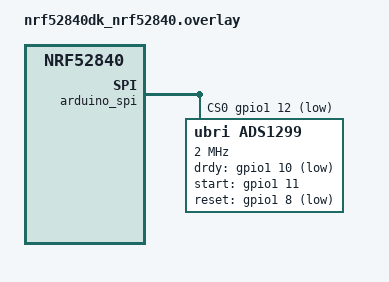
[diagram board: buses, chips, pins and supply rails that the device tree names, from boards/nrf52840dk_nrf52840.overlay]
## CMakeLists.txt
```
# Application Zephyr de la carte UBRI v0 (nRF52840). Compiler à blanc :
#   source ~/zephyrproject/.venv/bin/activate
#   west build -b nrf52840dk/nrf52840 -d /tmp/ubri-build products/ubri/firmware/app
cmake_minimum_required(VERSION 3.20.0)
find_package(Zephyr REQUIRED HINTS $ENV{ZEPHYR_BASE})
project(ubri_carte)

# Le cœur testé sur PC (30 tests, parité avec trame.py) est compilé TEL QUEL, sans copie.
set(COEUR ${CMAKE_CURRENT_SOURCE_DIR}/../coeur)
target_include_directories(app PRIVATE ${COEUR})
target_sources(app PRIVATE
  src/main.c
  src/ads1299.c
  src/compteur_drdy.c
  ${COEUR}/ubri_trame.c
)
target_compile_options(app PRIVATE -Wall -Wextra -Werror)
```

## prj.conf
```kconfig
# Application UBRI (nRF52840). Les valeurs Bluetooth suivent le débit calculé du cahier (trame v3 : 42 octets à
# 250 Hz = 10,5 ko/s) ; elles sont à mesurer sur la vraie liaison (cahier §8).
CONFIG_GPIO=y
CONFIG_SPI=y
CONFIG_NRFX_TIMER=y
CONFIG_NRFX_GPPI=y
CONFIG_LOG=y

CONFIG_BT=y
CONFIG_BT_PERIPHERAL=y
CONFIG_BT_DEVICE_NAME="UBRI"
# une trame v3 (42 octets) ne tient pas dans les 20 octets utiles d'un ATT MTU de 23 : MTU 247
CONFIG_BT_L2CAP_TX_MTU=247
CONFIG_BT_BUF_ACL_TX_SIZE=251
CONFIG_BT_BUF_ACL_RX_SIZE=251
CONFIG_BT_USER_DATA_LEN_UPDATE=y
CONFIG_BT_USER_PHY_UPDATE=y
# la carte demande elle-même la MTU 247 après l'appairage (bt_gatt_exchange_mtu = côté client GATT)
CONFIG_BT_GATT_CLIENT=y
# EEG = donnée de santé : appairage LE Secure Connections SEULEMENT, authentifié (clé ALÉATOIRE à chaque appairage,
# affichée sur la console), accepté seulement pendant la fenêtre d'appairage (pairing_accept) ; liaisons mémorisées
# en flash : un hôte déjà lié se reconnecte sans nouvel appairage.
CONFIG_BT_SMP=y
CONFIG_BT_SMP_SC_ONLY=y
CONFIG_BT_SMP_ENFORCE_MITM=y
CONFIG_BT_SMP_APP_PAIRING_ACCEPT=y
CONFIG_BT_MAX_PAIRED=2
CONFIG_BT_SETTINGS=y
CONFIG_SETTINGS=y
CONFIG_FLASH=y
CONFIG_FLASH_MAP=y
CONFIG_NVS=y

CONFIG_MAIN_STACK_SIZE=2048
```

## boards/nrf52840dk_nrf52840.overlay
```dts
/* nRF52840-DK -> carte d'évaluation TI ADS1299EEGFE (connecteur J3, guide SLAU443B tableau 8).
 * Bus : SPI de l'en-tête Arduino du DK (arduino_spi = spi3 : SCK P1.15, MISO P1.14, MOSI P1.13, CS P1.12).
 * Broches de contrôle choisies sur l'en-tête Arduino, à câbler vers J3 : DRDY P1.10, START P1.11, RESET P1.08.
 * À VÉRIFIER au câblage : J3 broche 15 = DRDYB, 1 = START/CS, 8 = RESETB, 7 = CS, 11 = DIN, 13 = DOUT, 3 = CLK ;
 * la sérigraphie de CLKSEL (J3 broche 2) serait fausse selon un résumé du forum TI : suivre le schéma.
 * Niveaux : DVDD de la carte TI et VDD du DK sur le MÊME rail 3,0 V (fiche d'achat, A12). */

&arduino_spi {
	status = "okay";
	cs-gpios = <&gpio1 12 GPIO_ACTIVE_LOW>;

	ads1299: ads1299@0 {
		compatible = "ubri,ads1299";
		reg = <0>;
		/* fiche ADS1299 : WREG/RREG octet par octet sans délai exigent tSDECODE (≈ 1,96 µs) => SCLK <= 4 MHz SANS
		 * marge ; 2 MHz en laisse (27 octets lus en 108 µs, bien sous les 4 ms d'un échantillon). */
		spi-max-frequency = <2000000>;
		drdy-gpios = <&gpio1 10 GPIO_ACTIVE_LOW>;
		start-gpios = <&gpio1 11 GPIO_ACTIVE_HIGH>;
		reset-gpios = <&gpio1 8 GPIO_ACTIVE_LOW>;
	};
};
```

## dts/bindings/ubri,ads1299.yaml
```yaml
# ADS1299 (TI) vu par l'application UBRI : périphérique SPI + broches de contrôle. Liaison minimale propre au
# projet (Zephyr n'a pas de pilote ADS1299) ; le protocole est dans src/ads1299.c.
description: "TI ADS1299, convertisseur EEG 8 voies 24 bits (application UBRI)"

compatible: "ubri,ads1299"

include: spi-device.yaml

properties:
  drdy-gpios:
    type: phandle-array
    required: true
    description: "sortie DRDY de l'ADS1299 (active basse), une impulsion par échantillon"
  start-gpios:
    type: phandle-array
    required: true
    description: "entrée START (active haute) : lance les conversions"
  reset-gpios:
    type: phandle-array
    required: true
    description: "entrée RESET (active basse)"
```

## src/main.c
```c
/* Application UBRI sur nRF52840 : ADS1299 (SPI) -> cœur ubri_trame (trames v3, ouverture, clôture) -> Bluetooth.
 *
 * Deux fils :
 * - ACQUISITION, seul à appeler les fonctions ubri_* (contrat de ubri_trame.h) : attend DRDY, lit le TIMER, lit les
 *   27 octets, relit le TIMER (différent => lecture jetée, le saut du TIMER la compte), encode, met en file ; file
 *   pleine => ubri_abandon(1). Il reverse dans ubri_abandon les pertes d'ÉCHANTILLONS de SA session postées par le
 *   fil BLE (KE#291). 2 s sans DRDY => session close (une ADS1299 muette n'a jamais l'air d'une session calme).
 * - BLE : vide la file, regroupe dans l'ordre des trames ENTIÈRES d'une même session, notifie ; une perte est postée
 *   avec sa session ; jamais d'accès à la session ubri.
 * Service GATT UBRI : COMMANDE (écriture : 0x01 ouvrir, 0x02 fermer), FLUX (notifications : trames, décodées par
 * products/ubri/connect/ubri_connect/trame.py).
 *
 * SÉCURITÉ (l'EEG est une donnée de santé) : LE Secure Connections seulement, niveau L4 exigé (permissions AUTHEN +
 * relecture du niveau avant chaque envoi). Clé ALÉATOIRE à chaque appairage, affichée sur la console uniquement
 * pendant la FENÊTRE D'APPAIRAGE (bouton 1 maintenu au démarrage, 60 s) ; hors fenêtre, tout appairage est refusé et
 * seuls les hôtes déjà liés (liaison mémorisée en flash) se reconnectent ; ouvrir la fenêtre EFFACE toutes les
 * liaisons. Une connexion qui n'atteint pas L4 en 30 s est coupée (place unique). La console passe par l'USB du PC : la
 * fenêtre d'appairage se fait SANS électrode posée (KE#285).
 * Compilé à blanc le 2026-11-09 ; JAMAIS exécuté sur une carte : tout comportement est à valider au banc. */
#include <errno.h>
#include <string.h>
#include <zephyr/bluetooth/bluetooth.h>
#include <zephyr/bluetooth/conn.h>
#include <zephyr/bluetooth/gatt.h>
#include <zephyr/bluetooth/hci.h>
#include <zephyr/bluetooth/uuid.h>
#include <zephyr/drivers/gpio.h>
#include <zephyr/kernel.h>
#include <zephyr/logging/log.h>
#include <zephyr/settings/settings.h>
#include <zephyr/spinlock.h>
#include <zephyr/sys/atomic.h>

#include "ads1299.h"
#include "compteur_drdy.h"
#include "ubri_trame.h"

LOG_MODULE_REGISTER(ubri, LOG_LEVEL_INF);

#define FS_HZ 250
#define GAIN 24
#define BIT_SYNC 0 /* GPIO1 de l'ADS1299 (ordre des bits à confirmer au banc, ubri_trame.h) */
#define ID_CARTE 0x0B1u
#define VERSION_MICROPROGRAMME 1u
#define FILE_PROFONDEUR 64          /* 64 trames ≈ 256 ms à 250 Hz */
#define SILENCE_MAX_MS 2000         /* sans DRDY pendant 2 s : ADS1299 muette, session close */
#define FENETRE_APPAIRAGE_MS 60000  /* bouton 1 au démarrage : 60 s pendant lesquelles un appairage est accepté */
/* Une connexion qui n'atteint pas L4 en 30 s est coupée : sinon un appareil inconnu garde la SEULE place
 * (CONFIG_BT_MAX_CONN = 1) et l'hôte lié ne peut plus se connecter. 30 s laisse lire la clé et la saisir ; durée
 * réelle d'un appairage à mesurer au banc (essai 6). */
#define DELAI_AUTH_MS 30000

typedef struct {
    uint32_t gen;        /* session émettrice : une perte n'est imputée qu'à SA session (KE#291) */
    uint8_t echantillon; /* 1 = trame v3 ; ouverture et clôture perdues ne sont PAS des échantillons abandonnés */
    uint8_t len;
    uint8_t data[UBRI_TRAME_V3_MAX];
} trame_t;

K_MSGQ_DEFINE(file_trames, sizeof(trame_t), FILE_PROFONDEUR, 4);
static atomic_t gen_session;  /* génération de la session en cours (incrémentée à chaque ouverture) */
static atomic_t pertes_ble;   /* échantillons de la session en cours perdus côté radio, postés par le fil BLE */
static atomic_t commande;     /* 0 rien, 1 ouvrir, 2 fermer : écrit par BLE, lu par l'acquisition */
static atomic_t seq_commande; /* +1 à CHAQUE commande (et à la déconnexion) : la commande est un ÉVÉNEMENT, pas un niveau.
                               * Sans lui, « fermer » puis « ouvrir » entre deux échantillons laissait la session courir
                               * sans nouvelle ouverture. */
static K_SEM_DEFINE(sem_commande, 0, 1);
static atomic_t flux_abonne;
static atomic_t fenetre_ouverte;

static struct k_spinlock verrou_conn; /* connexion_active n'est lue que sous verrou, et toujours avec une référence */
static struct bt_conn *connexion_active;

/* UUID propres à UBRI (128 bits, tirés une fois). */
#define UUID_SERVICE BT_UUID_128_ENCODE(0x6a1b0000, 0x5b3c, 0x4e0f, 0x9d2a, 0x7c1e0a5f3b21)
#define UUID_COMMANDE BT_UUID_128_ENCODE(0x6a1b0001, 0x5b3c, 0x4e0f, 0x9d2a, 0x7c1e0a5f3b21)
#define UUID_FLUX BT_UUID_128_ENCODE(0x6a1b0002, 0x5b3c, 0x4e0f, 0x9d2a, 0x7c1e0a5f3b21)
static const struct bt_uuid_128 uuid_service = BT_UUID_INIT_128(UUID_SERVICE);
static const struct bt_uuid_128 uuid_commande = BT_UUID_INIT_128(UUID_COMMANDE);
static const struct bt_uuid_128 uuid_flux = BT_UUID_INIT_128(UUID_FLUX);

static ssize_t ecrire_commande(struct bt_conn *conn, const struct bt_gatt_attr *attr, const void *buf, uint16_t len,
                               uint16_t offset, uint8_t flags)
{
    ARG_UNUSED(conn); ARG_UNUSED(attr); ARG_UNUSED(flags);
    if (offset != 0 || len != 1) return BT_GATT_ERR(BT_ATT_ERR_INVALID_ATTRIBUTE_LEN);
    uint8_t c = ((const uint8_t *)buf)[0];
    if (c != 1 && c != 2) return BT_GATT_ERR(BT_ATT_ERR_VALUE_NOT_ALLOWED);
    atomic_set(&commande, c);
    atomic_inc(&seq_commande);
    k_sem_give(&sem_commande);
    return len;
}

static void abonnement_flux(const struct bt_gatt_attr *attr, uint16_t valeur)
{
    ARG_UNUSED(attr);
    atomic_set(&flux_abonne, valeur == BT_GATT_CCC_NOTIFY);
}

BT_GATT_SERVICE_DEFINE(service_ubri,
    BT_GATT_PRIMARY_SERVICE(&uuid_service),
    BT_GATT_CHARACTERISTIC(&uuid_commande.uuid, BT_GATT_CHRC_WRITE, BT_GATT_PERM_WRITE_AUTHEN, NULL, ecrire_commande,
                           NULL),
    BT_GATT_CHARACTERISTIC(&uuid_flux.uuid, BT_GATT_CHRC_NOTIFY, BT_GATT_PERM_NONE, NULL, NULL, NULL),
    BT_GATT_CCC(abonnement_flux, BT_GATT_PERM_READ_AUTHEN | BT_GATT_PERM_WRITE_AUTHEN));
/* attrs : [0] service, [1][2] COMMANDE, [3][4] FLUX (déclaration, valeur), [5] CCC */
#define ATTR_FLUX_VALEUR (&service_ubri.attrs[4])

static const struct bt_data annonce[] = {
    BT_DATA_BYTES(BT_DATA_FLAGS, (BT_LE_AD_GENERAL | BT_LE_AD_NO_BREDR)),
    BT_DATA_BYTES(BT_DATA_UUID128_ALL, UUID_SERVICE),
};
static const struct bt_data reponse[] = {
    BT_DATA(BT_DATA_NAME_COMPLETE, CONFIG_BT_DEVICE_NAME, sizeof(CONFIG_BT_DEVICE_NAME) - 1),
};

/* Zephyr >= 4 : une annonce connectable ne sert qu'UNE fois ; on la relance à chaque connexion recyclée (KE#292). */
static void relancer_annonce(struct k_work *w)
{
    ARG_UNUSED(w);
    int e = bt_le_adv_start(BT_LE_ADV_CONN_FAST_1, annonce, ARRAY_SIZE(annonce), reponse, ARRAY_SIZE(reponse));
    if (e != 0 && e != -EALREADY) LOG_ERR("annonce BLE non relancée (%d)", e);
}
static K_WORK_DEFINE(travail_annonce, relancer_annonce);

/* Garde d'authentification : relancée à CHAQUE connexion (k_work_reschedule), donc le délai d'une connexion
 * précédente ne coupe jamais la suivante avant ses 30 s ; au déclenchement, ne coupe que si le niveau est < L4. */
static void verifier_authentification(struct k_work *w)
{
    ARG_UNUSED(w);
    k_spinlock_key_t k = k_spin_lock(&verrou_conn);
    struct bt_conn *conn = connexion_active ? bt_conn_ref(connexion_active) : NULL;
    k_spin_unlock(&verrou_conn, k);
    if (conn == NULL) return;
    if (bt_conn_get_security(conn) < BT_SECURITY_L4) {
        LOG_ERR("connexion non authentifiée après %d s : déconnexion (place libérée)", DELAI_AUTH_MS / 1000);
        bt_conn_disconnect(conn, BT_HCI_ERR_AUTH_FAIL);
    }
    bt_conn_unref(conn);
}
static K_WORK_DELAYABLE_DEFINE(travail_auth, verifier_authentification);

static struct bt_gatt_exchange_params echange_mtu;
static void mtu_echangee(struct bt_conn *conn, uint8_t err, struct bt_gatt_exchange_params *p)
{
    ARG_UNUSED(p);
    if (err) LOG_ERR("échange de MTU refusé (%u) : aucune trame (27 à 42 octets) ne tiendra en 20", err);
    else LOG_INF("MTU %u", bt_gatt_get_mtu(conn));
}

static void connecte(struct bt_conn *conn, uint8_t err)
{
    if (err) return;
    k_spinlock_key_t k = k_spin_lock(&verrou_conn);
    connexion_active = bt_conn_ref(conn);
    k_spin_unlock(&verrou_conn, k);
    (void)k_work_reschedule(&travail_auth, K_MSEC(DELAI_AUTH_MS));
    /* L4 = LE Secure Connections + authentification : sans elle, ni commande ni abonnement (permissions AUTHEN) */
    int r = bt_conn_set_security(conn, BT_SECURITY_L4);
    if (r != 0) {
        LOG_ERR("sécurité L4 refusée (%d) : déconnexion", r);
        bt_conn_disconnect(conn, BT_HCI_ERR_AUTH_FAIL);
    }
}

static void deconnecte(struct bt_conn *conn, uint8_t raison)
{
    ARG_UNUSED(raison);
    struct bt_conn *ancienne = NULL;
    k_spinlock_key_t k = k_spin_lock(&verrou_conn);
    if (connexion_active == conn) {
        ancienne = connexion_active;
        connexion_active = NULL;
    }
    k_spin_unlock(&verrou_conn, k);
    if (ancienne) bt_conn_unref(ancienne);
    (void)k_work_cancel_delayable(&travail_auth);
    atomic_set(&flux_abonne, 0);
    atomic_inc(&seq_commande);
    atomic_set(&commande, 2); /* plus personne pour recevoir : la session se ferme (clôture perdue : l'hôte voit une
                               * session non bornée, perdus_total = None, jamais 0) */
    k_sem_give(&sem_commande);
}

static void securite_changee(struct bt_conn *conn, bt_security_t niveau, enum bt_security_err err)
{
    if (err != BT_SECURITY_ERR_SUCCESS || niveau < BT_SECURITY_L4) {
        LOG_ERR("appairage échoué ou niveau %d < L4 (erreur %d) : déconnexion", niveau, err);
        bt_conn_disconnect(conn, BT_HCI_ERR_AUTH_FAIL);
        return;
    }
    echange_mtu.func = mtu_echangee; /* la carte demande elle-même la MTU de 247 (sinon 20 octets utiles) */
    /* -EALREADY : déjà échangée sur CETTE connexion (niveau de sécurité rechangé, par ex. rafraîchissement de clé) ;
     * la pile n'autorise qu'un échange par connexion (gatt.c v4.4.2), ce n'est pas une erreur. */
    int e = bt_gatt_exchange_mtu(conn, &echange_mtu);
    if (e == -EALREADY) LOG_INF("MTU déjà échangée : %u", bt_gatt_get_mtu(conn));
    else if (e != 0) LOG_ERR("échange de MTU non lancé (%d)", e);
}

static void recyclee(void)
{
    k_work_submit(&travail_annonce);
}

BT_CONN_CB_DEFINE(rappels_connexion) = {
    .connected = connecte, .disconnected = deconnecte, .security_changed = securite_changee, .recycled = recyclee};

/* Appairage : clé ALÉATOIRE tirée par la pile à chaque appairage ; la carte « l'affiche » sur la console, uniquement
 * pendant la fenêtre d'appairage (sans électrode posée : la console passe par l'USB du PC). */
static void cle_affichee(struct bt_conn *conn, unsigned int cle)
{
    ARG_UNUSED(conn);
    if (atomic_get(&fenetre_ouverte)) printk("UBRI : clé d'appairage %06u\n", cle);
}

static enum bt_security_err appairage_accepte(struct bt_conn *conn, const struct bt_conn_pairing_feat *const feat)
{
    ARG_UNUSED(conn); ARG_UNUSED(feat);
    return atomic_get(&fenetre_ouverte) ? BT_SECURITY_ERR_SUCCESS : BT_SECURITY_ERR_PAIR_NOT_ALLOWED;
}

static void appairage_annule(struct bt_conn *conn)
{
    bt_conn_disconnect(conn, BT_HCI_ERR_AUTH_FAIL);
}

static struct bt_conn_auth_cb rappels_auth = {
    .passkey_display = cle_affichee, .pairing_accept = appairage_accepte, .cancel = appairage_annule};

static void fermer_fenetre(struct k_work *w)
{
    ARG_UNUSED(w);
    atomic_clear(&fenetre_ouverte);
    LOG_INF("fenêtre d'appairage close : seuls les hôtes déjà liés se reconnectent");
}
static K_WORK_DELAYABLE_DEFINE(travail_fenetre, fermer_fenetre);

static int en_file(const uint8_t *data, int len, bool bloquant, bool echantillon)
{
    trame_t t = {.gen = (uint32_t)atomic_get(&gen_session), .echantillon = echantillon, .len = (uint8_t)len};
    memcpy(t.data, data, (size_t)len);
    return k_msgq_put(&file_trames, &t, bloquant ? K_MSEC(200) : K_NO_WAIT);
}

static void reverser_pertes_ble(ubri_session *s)
{
    atomic_val_t n = atomic_clear(&pertes_ble);
    if (n > 0) ubri_abandon(s, (uint32_t)n);
}

static void fil_acquisition(void *a, void *b, void *c)
{
    ARG_UNUSED(a); ARG_UNUSED(b); ARG_UNUSED(c);
    static const uint8_t codes[8] = {0, 1, 2, 3, 4, 5, 6, 7}; /* Fz FCz Cz CPz Pz C3 C4 EOG (trame.py LIBELLES) */
    ubri_session s;
    memset(&s, 0, sizeof s);
    uint8_t sortie[UBRI_TRAME_V3_MAX];
    uint8_t ads[UBRI_ADS_OCTETS];
    for (;;) {
        k_sem_take(&sem_commande, K_FOREVER);
        /* seq lu AVANT commande : une commande arrivée après cette lecture ferme la session via seq, aucune n'est
         * absorbée ; un « ouvrir » rouvre ensuite une session NEUVE */
        atomic_val_t seq_ouverture = atomic_get(&seq_commande);
        if (atomic_get(&commande) != 1) continue;
        atomic_inc(&gen_session);
        (void)atomic_clear(&pertes_ble); /* pertes d'une session antérieure : jamais imputées à celle-ci (KE#291) */
        int r = ads1299_configurer();     /* RESET, ID, registres, relecture : AVANT la remise à zéro du TIMER */
        compteur_drdy_zero();             /* juste avant START : aucune DRDY parasite de la configuration comptée */
        int n = ubri_ouvrir(&s, sortie, 8, codes, 0, FS_HZ, GAIN, ID_CARTE, VERSION_MICROPROGRAMME, BIT_SYNC);
        if (n < 0 || en_file(sortie, n, true, false) != 0) {
            LOG_ERR("ouverture impossible (%d)", n);
            memset(&s, 0, sizeof s); /* ubri_ouvrir a pu réussir : sinon UBRI_ERR_SESSION jusqu'au redémarrage */
            continue;
        }
        if (r == 0 && atomic_get(&seq_commande) == seq_ouverture) r = ads1299_lancer(); /* START puis RDATAC ; pas de
                                                                         * START inutile si une commande est arrivée */
        if (r != 0) LOG_ERR("ADS1299 non démarrée (%d) : la session sera close sans échantillon", r);
        uint32_t silences = 0;
        while (r == 0 && atomic_get(&commande) == 1 && atomic_get(&seq_commande) == seq_ouverture) {
            if (compteur_drdy_attendre(100) != 0) {
                if (++silences >= SILENCE_MAX_MS / 100) {
                    LOG_ERR("aucune DRDY depuis %d ms : session close", SILENCE_MAX_MS);
                    break;
                }
                continue;
            }
            silences = 0;
            uint32_t t1 = compteur_drdy_lire();
            /* interruption en retard (jeton pour une DRDY déjà servie) : ni lecture, ni faux refus (KE#300) */
            if (!ubri_timer_coherent(&s, t1)) continue;
            if (ads1299_lire(ads) != 0) { ubri_refus_lecture(&s); continue; }
            uint32_t t2 = compteur_drdy_lire();
            if (t1 != t2) { ubri_lecture_jetee(&s); continue; } /* DRDY pendant la lecture : jamais N+1 étiquetée N */
            reverser_pertes_ble(&s);
            n = ubri_echantillon(&s, sortie, t1, ads, 0);
            if (n < 0) continue; /* mot d'état corrompu : s.refus ; TIMER incohérent : s.incoherences_timer (KE#300) */
            if (en_file(sortie, n, false, true) != 0) ubri_abandon(&s, 1);
        }
        ads1299_arreter();
        reverser_pertes_ble(&s);
        n = ubri_cloturer(&s, sortie, compteur_drdy_lire());
        if (n < 0 || en_file(sortie, n, true, false) != 0) LOG_ERR("clôture non émise (%d)", n);
        LOG_INF("session close : %u DRDY manquées, %u abandons, %u fronts incertains, %u lectures jetées, %u refus, "
                "%u incohérences du TIMER", s.drdy_manquees, s.abandonnees, s.fronts_incertains, s.lectures_jetees,
                s.refus, s.incoherences_timer); /* tous transmis (clôture v2) */
        memset(&s, 0, sizeof s);
    }
}

static void fil_ble(void *a, void *b, void *c)
{
    ARG_UNUSED(a); ARG_UNUSED(b); ARG_UNUSED(c);
    static uint8_t paquet[244]; /* ATT MTU 247 - 3 octets d'en-tête */
    static trame_t en_attente;  /* trame sortie de la file mais pas encore placée : garde l'ORDRE des trames */
    bool attente = false;
    for (;;) {
        if (!attente) {
            k_msgq_get(&file_trames, &en_attente, K_FOREVER);
            attente = true;
        }
        k_spinlock_key_t k = k_spin_lock(&verrou_conn);
        struct bt_conn *conn = connexion_active ? bt_conn_ref(connexion_active) : NULL;
        k_spin_unlock(&verrou_conn, k);
        size_t utile = conn ? MIN(sizeof paquet, (size_t)bt_gatt_get_mtu(conn) - 3u) : 0;
        size_t remplissage = 0;
        uint32_t nb = 0, nb_ech = 0, gen_paquet = en_attente.gen;
        /* trames ENTIÈRES d'une même session, dans l'ordre ; la première qui ne rentre plus reste en attente */
        while (attente && en_attente.gen == gen_paquet && remplissage + en_attente.len <= utile) {
            memcpy(paquet + remplissage, en_attente.data, en_attente.len);
            remplissage += en_attente.len;
            nb++;
            nb_ech += en_attente.echantillon;
            attente = (k_msgq_get(&file_trames, &en_attente, K_NO_WAIT) == 0);
        }
        /* la session du paquet est relue JUSTE avant chaque imputation (KE#291) : bt_gatt_notify peut attendre un tampon
         * ATT en K_FOREVER (att.c v4.4.2), la comparer avant l'envoi élargirait la fenêtre de course à cette attente */
        if (nb == 0) { /* pas de connexion, ou MTU trop petite pour une seule trame : perdue */
            if (en_attente.echantillon && gen_paquet == (uint32_t)atomic_get(&gen_session)) atomic_inc(&pertes_ble);
            attente = false;
        } else if (!atomic_get(&flux_abonne) || bt_conn_get_security(conn) < BT_SECURITY_L4 ||
                   bt_gatt_notify(conn, ATTR_FLUX_VALEUR, paquet, (uint16_t)remplissage) != 0) {
            /* deux barrières indépendantes : abonnement (CCC en AUTHEN) ET niveau de la liaison relu ici */
            if (gen_paquet == (uint32_t)atomic_get(&gen_session)) atomic_add(&pertes_ble, (atomic_val_t)nb_ech);
        }
        if (conn) bt_conn_unref(conn);
    }
}

K_THREAD_DEFINE(id_acquisition, 2048, fil_acquisition, NULL, NULL, NULL, 2, 0, 0);
K_THREAD_DEFINE(id_ble, 2048, fil_ble, NULL, NULL, NULL, 5, 0, 0);

static const struct gpio_dt_spec bouton = GPIO_DT_SPEC_GET(DT_ALIAS(sw0), gpios);

static void compter_liaison(const struct bt_bond_info *info, void *n)
{
    ARG_UNUSED(info);
    (*(int *)n)++;
}

int main(void)
{
    int err = compteur_drdy_init();
    if (err != 0) {
        LOG_ERR("compteur DRDY : %d (aucune session possible)", err);
        return err;
    }
    if (gpio_is_ready_dt(&bouton) && gpio_pin_configure_dt(&bouton, GPIO_INPUT) == 0 && gpio_pin_get_dt(&bouton) == 1) {
        atomic_set(&fenetre_ouverte, 1);
        k_work_schedule(&travail_fenetre, K_MSEC(FENETRE_APPAIRAGE_MS));
        printk("UBRI : fenêtre d'appairage ouverte %d s (SANS électrode posée : console sur l'USB du PC)\n",
               FENETRE_APPAIRAGE_MS / 1000);
    }
    err = bt_conn_auth_cb_register(&rappels_auth);
    if (err != 0) {
        LOG_ERR("rappels d'authentification refusés (%d)", err);
        return err;
    }
    err = bt_enable(NULL);
    if (err != 0) {
        LOG_ERR("Bluetooth : %d", err);
        return err;
    }
    err = settings_load(); /* liaisons mémorisées : un hôte déjà lié se reconnecte hors fenêtre d'appairage */
    if (err != 0) {
        LOG_ERR("liaisons mémorisées non chargées (%d)", err);
        if (atomic_get(&fenetre_ouverte)) {
            /* effacement impossible à certifier : bt_unpair ne voit que les liaisons chargées en RAM (KE#294) */
            atomic_clear(&fenetre_ouverte);
            LOG_ERR("fenêtre d'appairage refermée : liaisons en flash inconnues");
        }
    }
    if (atomic_get(&fenetre_ouverte)) {
        /* Ouvrir la fenêtre EFFACE toutes les liaisons (APRÈS settings_load, sinon elles reviendraient de la flash) :
         * c'est le seul moyen de révoquer un hôte perdu, et sans cela, BT_MAX_PAIRED = 2 atteint, tout nouvel
         * appairage échouerait. Geste physique sur la carte = remise à zéro de la confiance.
         * Zephyr v4.4.2 : bt_unpair(ANY) rend 0 sans condition (hci_core.c l. 2182-2197) : on RECOMPTE (KE#294).
         * L'effacement en flash lui-même n'est pas vérifiable ici : essai 6 du banc (redémarrage SANS bouton). */
        (void)bt_unpair(BT_ID_DEFAULT, BT_ADDR_LE_ANY);
        int restantes = 0;
        bt_foreach_bond(BT_ID_DEFAULT, compter_liaison, &restantes);
        if (restantes != 0) {
            LOG_ERR("%d liaison(s) non effacée(s) : fenêtre d'appairage refermée", restantes);
            atomic_clear(&fenetre_ouverte);
        } else {
            printk("UBRI : liaisons précédentes effacées, appairer à nouveau chaque hôte\n");
        }
    }
    relancer_annonce(NULL);
    return 0;
}
```

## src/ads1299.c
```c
/* Pilote minimal de l'ADS1299. Voir ads1299.h. */
#include "ads1299.h"

#include <errno.h>
#include <string.h>
#include <zephyr/drivers/gpio.h>
#include <zephyr/drivers/spi.h>
#include <zephyr/kernel.h>
#include <zephyr/logging/log.h>

LOG_MODULE_REGISTER(ads1299, LOG_LEVEL_INF);

#define ADS_NOEUD DT_NODELABEL(ads1299)
/* fiche : CPOL = 0, CPHA = 1 (données lues sur le front descendant de SCLK), MSB d'abord, mots de 8 bits */
static const struct spi_dt_spec bus = SPI_DT_SPEC_GET(ADS_NOEUD, SPI_WORD_SET(8) | SPI_TRANSFER_MSB | SPI_MODE_CPHA);
static const struct gpio_dt_spec start = GPIO_DT_SPEC_GET(ADS_NOEUD, start_gpios);
static const struct gpio_dt_spec reset = GPIO_DT_SPEC_GET(ADS_NOEUD, reset_gpios);

/* Commandes et registres (fiche SBAS499C, à vérifier au banc). */
enum {
    CMD_RESET = 0x06, CMD_RDATAC = 0x10, CMD_SDATAC = 0x11, CMD_RREG = 0x20, CMD_WREG = 0x40,
    REG_ID = 0x00, REG_CONFIG1 = 0x01, REG_GPIO = 0x14, REG_MISC1 = 0x15,
};
#define ID_ADS1299_8VOIES 0x3Eu /* fiche : 0x3E pour l'ADS1299 8 voies (à vérifier au banc) */

/* CONFIG1..CH8SET (adresses 0x01..0x0C), écrites d'un bloc. Fiche, à vérifier au banc :
 * CONFIG1 0x96 : 250 SPS, horloge interne non sortie ; CONFIG2 0xC0 : signaux de test coupés ;
 * CONFIG3 0xEC : tampon de référence interne + amplificateur BIAS alimenté, BIASREF interne. Sans BIAS_SENSP/N
 *   (registres 0x0D/0x0E à 0), il ne fait que piloter BIASREF : PAS de contre-réaction « jambe droite » (à régler au banc) ;
 * LOFF 0x00 : lead-off DC au repos (bits LOFF_STAT invalides tant que LOFF_SENSP/N = 0, voir ubri_trame.h) ;
 * CH1SET..CH8SET 0x60 : gain 24, entrée électrode normale. */
static const uint8_t CONFIG_BLOC[12] = {0x96, 0xC0, 0xEC, 0x00, 0x60, 0x60, 0x60, 0x60, 0x60, 0x60, 0x60, 0x60};

static int ecrire(const uint8_t *tx, size_t n)
{
    const struct spi_buf b = {.buf = (void *)tx, .len = n};
    const struct spi_buf_set s = {.buffers = &b, .count = 1};
    return spi_write_dt(&bus, &s);
}

static int commande(uint8_t c)
{
    int r = ecrire(&c, 1);
    k_busy_wait(4); /* fiche : au moins 4 tCLK (≈ 2 µs à 2,048 MHz) entre deux commandes */
    return r;
}

static int lire_registre(uint8_t adr, uint8_t *val)
{
    uint8_t tx[3] = {(uint8_t)(CMD_RREG | adr), 0x00, 0x00}, rx[3] = {0};
    const struct spi_buf bt = {.buf = tx, .len = 3}, br = {.buf = rx, .len = 3};
    const struct spi_buf_set st = {.buffers = &bt, .count = 1}, sr = {.buffers = &br, .count = 1};
    int r = spi_transceive_dt(&bus, &st, &sr);
    *val = rx[2];
    return r;
}

static int ecrire_registres(uint8_t adr, const uint8_t *val, uint8_t n)
{
    uint8_t tx[2 + 12];
    if (n == 0 || n > 12) return -EINVAL;
    tx[0] = (uint8_t)(CMD_WREG | adr);
    tx[1] = (uint8_t)(n - 1u);
    memcpy(&tx[2], val, n);
    return ecrire(tx, 2u + n);
}

int ads1299_configurer(void)
{
    int r;
    if (!spi_is_ready_dt(&bus) || !gpio_is_ready_dt(&start) || !gpio_is_ready_dt(&reset)) {
        LOG_ERR("SPI ou GPIO de l'ADS1299 non prêts");
        return -ENODEV;
    }
    gpio_pin_configure_dt(&start, GPIO_OUTPUT_INACTIVE);
    gpio_pin_configure_dt(&reset, GPIO_OUTPUT_ACTIVE);
    k_busy_wait(10);
    gpio_pin_set_dt(&reset, 0);
    k_msleep(10); /* fiche : attendre 18 tCLK après RESET ; large marge */
    if ((r = commande(CMD_SDATAC)) != 0) return r; /* sortir du mode continu avant d'écrire les registres */
    uint8_t id = 0;
    if ((r = lire_registre(REG_ID, &id)) != 0) return r;
    if (id != ID_ADS1299_8VOIES) {
        LOG_ERR("identifiant ADS1299 inattendu : 0x%02x (attendu 0x%02x)", id, ID_ADS1299_8VOIES);
        return -EIO;
    }
    const uint8_t gpio = 0x0F, misc1 = 0x20; /* 4 GPIO en entrée (synchro sur GPIO1) ; SRB1 sur toutes les entrées - */
    if ((r = ecrire_registres(REG_CONFIG1, CONFIG_BLOC, sizeof CONFIG_BLOC)) != 0) return r;
    if ((r = ecrire_registres(REG_GPIO, &gpio, 1)) != 0) return r;
    if ((r = ecrire_registres(REG_MISC1, &misc1, 1)) != 0) return r;
    uint8_t relu = 0;
    if ((r = lire_registre(REG_CONFIG1, &relu)) != 0) return r;
    if (relu != CONFIG_BLOC[0]) { /* relecture : une écriture SPI ratée ne passe pas pour une configuration */
        LOG_ERR("CONFIG1 relu 0x%02x, écrit 0x%02x", relu, CONFIG_BLOC[0]);
        return -EIO;
    }
    return 0;
}

int ads1299_lancer(void)
{
    gpio_pin_set_dt(&start, 1);
    return commande(CMD_RDATAC);
}

void ads1299_arreter(void)
{
    gpio_pin_set_dt(&start, 0);
    (void)commande(CMD_SDATAC);
}

int ads1299_lire(uint8_t ads[UBRI_ADS_OCTETS])
{
    static const uint8_t zeros[UBRI_ADS_OCTETS] = {0};
    const struct spi_buf bt = {.buf = (void *)zeros, .len = UBRI_ADS_OCTETS}, br = {.buf = ads, .len = UBRI_ADS_OCTETS};
    const struct spi_buf_set st = {.buffers = &bt, .count = 1}, sr = {.buffers = &br, .count = 1};
    return spi_transceive_dt(&bus, &st, &sr);
}
```

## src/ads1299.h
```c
/* Pilote minimal de l'ADS1299 pour l'application UBRI (SPI + broches de contrôle). Valeurs de registres tirées de
 * la fiche TI SBAS499C : « fiche, à vérifier au banc » tant qu'elles n'ont pas été relues sur la vraie carte. */
#ifndef UBRI_ADS1299_H
#define UBRI_ADS1299_H

#include <stdint.h>

#include "ubri_trame.h"

/* Réinitialise, vérifie l'identifiant (registre ID), écrit la configuration (250 SPS, gain 24, GPIO en entrée,
 * référence SRB1 commune, tampon BIAS) et la relit. Ne lance PAS les conversions. 0, ou un code négatif nommé. */
int ads1299_configurer(void);

/* START haut puis RDATAC : les DRDY commencent. À appeler juste après la remise à zéro du TIMER. */
int ads1299_lancer(void);

/* Arrête les conversions (SDATAC, START bas). */
void ads1299_arreter(void);

/* Lit les 27 octets d'un échantillon (mode RDATAC : aucune commande, 216 coups d'horloge après DRDY bas). */
int ads1299_lire(uint8_t ads[UBRI_ADS_OCTETS]);

#endif
```

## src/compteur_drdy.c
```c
/* Compteur matériel des DRDY : GPIOTE IN -> PPI -> TIMER2 COUNT. Montage repris de l'exemple Zephyr
 * samples/subsys/usb/uac2_explicit_feedback/src/feedback_nrf.c (nrfx 4.2). Voir compteur_drdy.h. */
#include "compteur_drdy.h"

#include <gpiote_nrfx.h>
#include <helpers/nrfx_gppi.h>
#include <nrfx_gpiote.h>
#include <nrfx_timer.h>
#include <zephyr/devicetree.h>
#include <zephyr/kernel.h>
#include <zephyr/logging/log.h>

LOG_MODULE_REGISTER(compteur_drdy, LOG_LEVEL_INF);

#define BROCHE_DRDY NRF_DT_GPIOS_TO_PSEL(DT_NODELABEL(ads1299), drdy_gpios)

static nrfx_timer_t minuteur = NRFX_TIMER_INSTANCE(NRF_TIMER_INST_GET(2)); /* TIMER0 est pris par la pile BLE */
static nrfx_gpiote_t *gpiote = &GPIOTE_NRFX_INST_BY_NODE(DT_NODELABEL(gpiote0));
static K_SEM_DEFINE(sem_drdy, 0, 1);

static void sur_drdy(nrfx_gpiote_pin_t broche, nrfx_gpiote_trigger_t declencheur, void *ctx)
{
    ARG_UNUSED(broche); ARG_UNUSED(declencheur); ARG_UNUSED(ctx);
    k_sem_give(&sem_drdy); /* un seul jeton : une DRDY non servie à temps ne s'accumule pas, le TIMER la compte */
}

int compteur_drdy_init(void)
{
    uint8_t canal;
    int err = nrfx_gpiote_channel_alloc(gpiote, &canal);
    if (err != 0) {
        LOG_ERR("canal GPIOTE indisponible (%d)", err);
        return err;
    }
    nrfx_gpiote_trigger_config_t declenche = {
        .trigger = NRFX_GPIOTE_TRIGGER_HITOLO, /* DRDY active basse : un front descendant par échantillon */
        .p_in_channel = &canal,
    };
    nrfx_gpiote_handler_config_t gestion = {.handler = sur_drdy, .p_context = NULL};
    nrf_gpio_pin_pull_t tirage = NRF_GPIO_PIN_NOPULL; /* DRDY est une sortie poussée de l'ADS1299 */
    nrfx_gpiote_input_pin_config_t config = {
        .p_pull_config = &tirage,
        .p_trigger_config = &declenche,
        .p_handler_config = &gestion,
    };
    err = nrfx_gpiote_input_configure(gpiote, BROCHE_DRDY, &config);
    if (err != 0) {
        LOG_ERR("configuration GPIOTE de DRDY refusée (%d)", err);
        return err;
    }
    const nrfx_timer_config_t cfg = {
        .frequency = NRFX_MHZ_TO_HZ(1UL), /* sans effet en mode compteur, exigé par l'API */
        .mode = NRF_TIMER_MODE_COUNTER,
        .bit_width = NRF_TIMER_BIT_WIDTH_32,
        .interrupt_priority = NRFX_TIMER_DEFAULT_CONFIG_IRQ_PRIORITY,
        .p_context = NULL,
    };
    err = nrfx_timer_init(&minuteur, &cfg, NULL);
    if (err != 0) {
        LOG_ERR("TIMER2 indisponible (%d)", err);
        return err;
    }
    uint32_t eep = nrfx_gpiote_in_event_address_get(gpiote, BROCHE_DRDY);
    uint32_t tep = nrfx_timer_task_address_get(&minuteur, NRF_TIMER_TASK_COUNT);
    nrfx_gppi_handle_t connexion;
    err = nrfx_gppi_conn_alloc(eep, tep, &connexion);
    if (err < 0) {
        LOG_ERR("connexion PPI DRDY -> TIMER2 refusée (%d)", err);
        return err;
    }
    nrfx_gppi_conn_enable(connexion);
    nrfx_timer_enable(&minuteur);
    nrfx_gpiote_trigger_enable(gpiote, BROCHE_DRDY, true); /* true : interruption en plus de l'événement PPI */
    return 0;
}

void compteur_drdy_zero(void)
{
    nrfx_timer_clear(&minuteur);
    k_sem_reset(&sem_drdy);
}

uint32_t compteur_drdy_lire(void)
{
    return nrfx_timer_capture(&minuteur, NRF_TIMER_CC_CHANNEL0);
}

int compteur_drdy_attendre(int32_t timeout_ms)
{
    return k_sem_take(&sem_drdy, K_MSEC(timeout_ms));
}
```

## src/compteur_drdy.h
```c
/* Compteur MATÉRIEL des DRDY de l'ADS1299 (cahier carte-ubri-v0 §3) : la broche DRDY produit un événement GPIOTE IN,
 * relié par PPI à la tâche COUNT de TIMER2 en mode compteur. Le compte ne dépend d'aucune interruption : une DRDY
 * que le logiciel ne sert pas fait quand même avancer le TIMER, et le saut se voit dans le compteur de trame.
 * La même broche réveille le fil d'acquisition (interruption GPIOTE -> sémaphore à un jeton). */
#ifndef UBRI_COMPTEUR_DRDY_H
#define UBRI_COMPTEUR_DRDY_H

#include <stdint.h>

/* Configure GPIOTE (front descendant de DRDY), TIMER2 (compteur 32 bits) et la connexion PPI. 0 ou code négatif. */
int compteur_drdy_init(void);

/* Remet le TIMER à zéro (ouverture de session : TIMER = nombre de DRDY depuis l'ouverture). */
void compteur_drdy_zero(void);

/* Valeur actuelle du TIMER (capture CC0). */
uint32_t compteur_drdy_lire(void);

/* Attend la prochaine DRDY au plus timeout_ms : 0 = reçue, négatif sinon. */
int compteur_drdy_attendre(int32_t timeout_ms);

#endif
```
